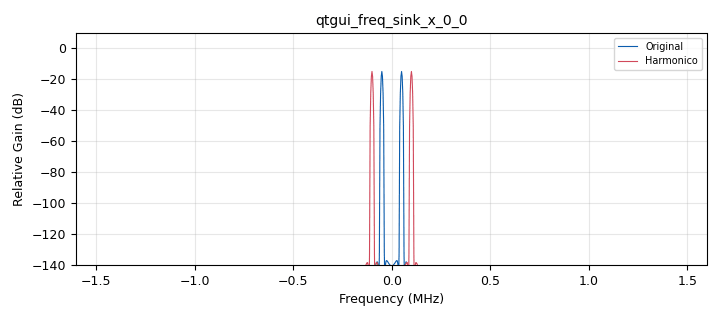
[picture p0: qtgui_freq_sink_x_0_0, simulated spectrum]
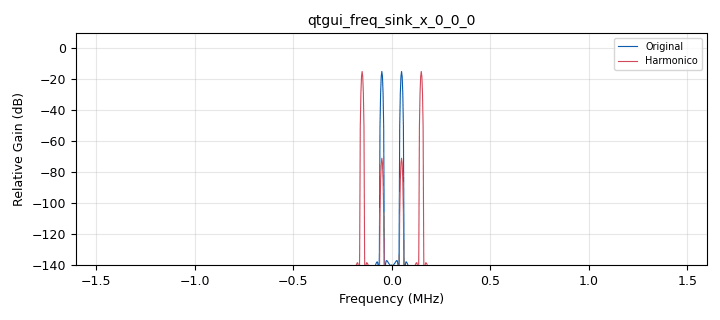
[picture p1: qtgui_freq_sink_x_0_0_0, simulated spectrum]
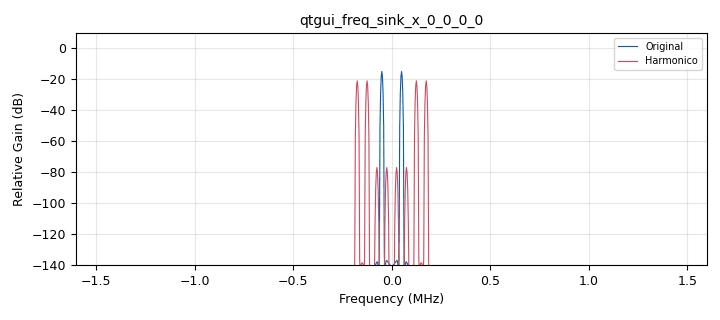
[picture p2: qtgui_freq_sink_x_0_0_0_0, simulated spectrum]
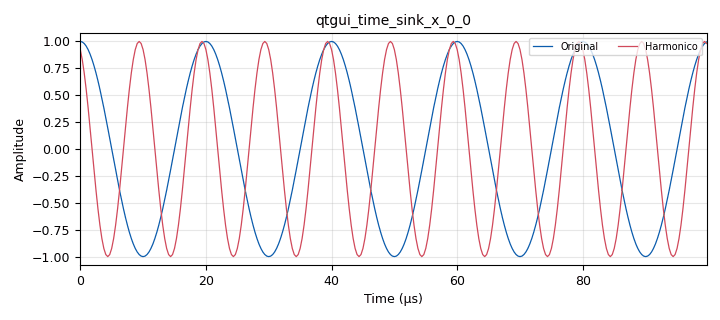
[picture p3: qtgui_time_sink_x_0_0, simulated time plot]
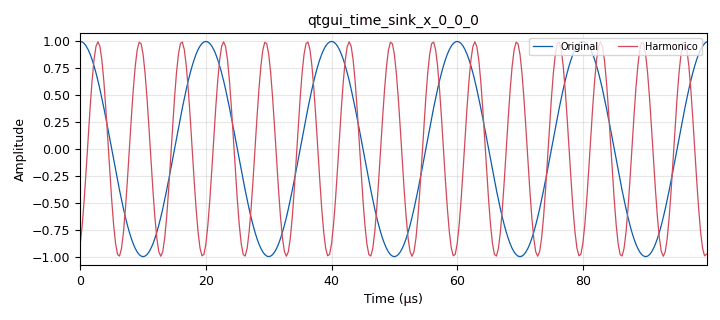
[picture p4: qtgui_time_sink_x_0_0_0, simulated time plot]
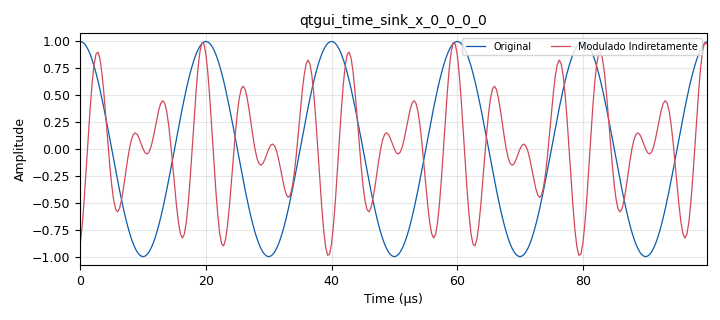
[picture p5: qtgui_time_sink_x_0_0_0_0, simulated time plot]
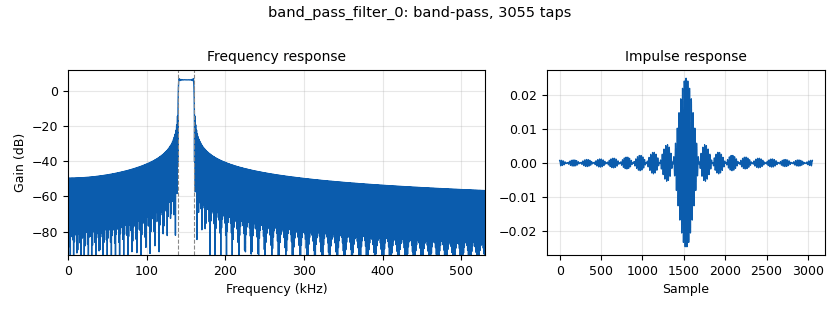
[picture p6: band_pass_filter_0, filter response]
options:
  parameters:
    generate_options: qt_gui
    id: Armstrong
    output_language: python
    title: Not titled yet
  states: {}

blocks:
- name: amp
  id: variable_qtgui_range
  parameters:
    gui_hint: 0,0
    label: Amplitude
    min_len: '20'
    start: '0'
    step: '.1'
    stop: '1'
    value: '0'
  states: {}
- name: df
  id: variable_qtgui_range
  parameters:
    label: Frequency Deviation
    start: '0'
    step: '1'
    stop: '10000'
    value: freq
    widget: eng
  states: {}
- name: f_c
  id: variable
  parameters:
    value: '50000'
  states: {}
- name: f_lo
  id: variable_qtgui_entry
  parameters:
    label: Frequency Local Oscillator
    type: int
    value: '25000'
  states: {}
- name: freq
  id: variable_qtgui_range
  parameters:
    gui_hint: 0,1
    label: Frequency
    min_len: '20'
    start: '1000'
    step: '1000'
    stop: '10000'
    value: '10000'
  states: {}
- name: samp_rate
  id: variable
  parameters:
    value: '3200000'
  states: {}
- name: analog_sig_source_x_0
  id: analog_sig_source_x
  parameters:
    amp: '1'
    freq: f_c
    offset: '0'
    phase: '0'
    samp_rate: samp_rate
    type: float
    waveform: analog.GR_SIN_WAVE
  states: {}
- name: analog_sig_source_x_0_0
  id: analog_sig_source_x
  parameters:
    amp: '1'
    freq: f_c
    offset: '0'
    phase: '0'
    samp_rate: samp_rate
    type: float
    waveform: analog.GR_COS_WAVE
  states: {}
- name: analog_sig_source_x_0_1
  id: analog_sig_source_x
  parameters:
    amp: amp
    comment: FM Signal
    freq: freq
    offset: '0'
    phase: '0'
    samp_rate: samp_rate
    type: float
    waveform: analog.GR_COS_WAVE
  states: {}
- name: analog_sig_source_x_1
  id: analog_sig_source_x
  parameters:
    amp: '1'
    freq: f_lo
    offset: '0'
    phase: '0'
    samp_rate: samp_rate
    type: float
    waveform: analog.GR_COS_WAVE
  states: {}
- name: band_pass_filter_0
  id: band_pass_filter
  parameters:
    decim: '1'
    gain: '2'
    high_cutoff_freq: 3*f_c+df
    low_cutoff_freq: 3*f_c-df
    samp_rate: samp_rate
    type: fir_filter_fff
    width: df/10
    win: window.WIN_RECTANGULAR
  states: {}
- name: band_pass_filter_0_0
  id: band_pass_filter
  parameters:
    decim: '1'
    gain: '2'
    high_cutoff_freq: 2*f_c + 2*df
    low_cutoff_freq: 2*(f_c) - 2*df
    samp_rate: samp_rate
    type: fir_filter_fff
    width: '1'
    win: window.WIN_HAMMING
  states: {state: disabled}
- name: blocks_head_0
  id: blocks_head
  parameters:
    num_items: round(samp_rate/freq)*1000
    type: float
  states: {state: disabled}
- name: blocks_multiply_const_vxx_0
  id: blocks_multiply_const_vxx
  parameters:
    const: '2'
    type: float
  states: {}
- name: blocks_multiply_xx_0
  id: blocks_multiply_xx
  parameters:
    type: float
  states: {}
- name: blocks_multiply_xx_0_0
  id: blocks_multiply_xx
  parameters:
    type: float
  states: {}
- name: blocks_multiply_xx_0_0_0
  id: blocks_multiply_xx
  parameters:
    type: float
  states: {}
- name: blocks_multiply_xx_1
  id: blocks_multiply_xx
  parameters:
    type: float
  states: {}
- name: blocks_sub_xx_0
  id: blocks_sub_xx
  parameters:
    type: float
  states: {}
- name: blocks_throttle2_0
  id: blocks_throttle2
  parameters:
    samples_per_second: samp_rate
    type: float
  states: {}
- name: blocks_throttle2_0_0
  id: blocks_throttle2
  parameters:
    samples_per_second: samp_rate
    type: float
  states: {}
- name: dc_blocker_xx_0
  id: dc_blocker_xx
  parameters:
    length: '32'
    long_form: 'True'
    type: ff
  states: {}
- name: dc_blocker_xx_0_0
  id: dc_blocker_xx
  parameters:
    length: '32'
    long_form: 'True'
    type: ff
  states: {}
- name: qtgui_freq_sink_x_0
  id: qtgui_freq_sink_x
  parameters:
    bw: samp_rate
    ctrlpanel: 'True'
    fc: '0'
    fftsize: '1024'
    gui_hint: tab@0
    type: float
  states: {state: disabled}
- name: qtgui_freq_sink_x_0_0
  id: qtgui_freq_sink_x
  parameters:
    bw: samp_rate
    ctrlpanel: 'True'
    fc: '0'
    fftsize: '1024'
    gui_hint: tab@1
    label1: Original
    label2: Harmonico
    nconnections: '2'
    type: float
  states: {}
- name: qtgui_freq_sink_x_0_0_0
  id: qtgui_freq_sink_x
  parameters:
    bw: samp_rate
    ctrlpanel: 'True'
    fc: '0'
    fftsize: '1024'
    gui_hint: tab@2
    label1: Original
    label2: Harmonico
    nconnections: '2'
    type: float
  states: {}
- name: qtgui_freq_sink_x_0_0_0_0
  id: qtgui_freq_sink_x
  parameters:
    bw: samp_rate
    ctrlpanel: 'True'
    fc: '0'
    fftsize: '1024'
    gui_hint: tab@0
    label1: Original
    label2: Harmonico
    nconnections: '2'
    type: float
  states: {}
- name: qtgui_time_sink_x_0
  id: qtgui_time_sink_x
  parameters:
    ctrlpanel: 'True'
    gui_hint: tab@0
    size: round(samp_rate/freq)
    srate: samp_rate
    type: float
  states: {state: disabled}
- name: qtgui_time_sink_x_0_0
  id: qtgui_time_sink_x
  parameters:
    ctrlpanel: 'True'
    gui_hint: tab@1
    label1: Original
    label2: Harmonico
    nconnections: '2'
    size: round(samp_rate/freq)
    srate: samp_rate
    type: float
  states: {}
- name: qtgui_time_sink_x_0_0_0
  id: qtgui_time_sink_x
  parameters:
    ctrlpanel: 'True'
    gui_hint: tab@2
    label1: Original
    label2: Harmonico
    nconnections: '2'
    size: round(samp_rate/freq)
    srate: samp_rate
    type: float
  states: {}
- name: qtgui_time_sink_x_0_0_0_0
  id: qtgui_time_sink_x
  parameters:
    ctrlpanel: 'True'
    gui_hint: tab@0
    label1: Original
    label2: Modulado Indiretamente
    nconnections: '2'
    size: round(samp_rate/freq)
    srate: samp_rate
    type: float
  states: {}
- name: tab
  id: qtgui_tab_widget
  parameters:
    label0: Indirect Method
    label1: HARMONICO 2
    label2: HARMONICO 3
    num_tabs: '3'
  states: {}
- name: virtual_sink_0
  id: virtual_sink
  parameters:
    stream_id: NBFM
  states: {}
- name: virtual_sink_1_0
  id: virtual_sink
  parameters:
    stream_id: h2
  states: {}
- name: virtual_sink_1_0_0
  id: virtual_sink
  parameters:
    stream_id: h3
  states: {}
- name: virtual_source_0
  id: virtual_source
  parameters:
    stream_id: h2
  states: {}
- name: virtual_source_0_0_0_0_1_1_0
  id: virtual_source
  parameters:
    stream_id: NBFM
  states: {}
- name: virtual_source_0_0_0_0_1_1_0_0
  id: virtual_source
  parameters:
    stream_id: NBFM
  states: {}
- name: virtual_source_0_0_0_0_1_1_0_1
  id: virtual_source
  parameters:
    stream_id: NBFM
  states: {}
- name: virtual_source_0_0_0_0_1_1_0_1_0
  id: virtual_source
  parameters:
    stream_id: NBFM
  states: {}
- name: virtual_source_0_0_0_0_1_1_0_2
  id: virtual_source
  parameters:
    stream_id: NBFM
  states: {}
- name: virtual_source_0_0_0_0_1_1_0_2_0
  id: virtual_source
  parameters:
    stream_id: NBFM
  states: {}
- name: virtual_source_0_0_0_0_1_1_0_2_1
  id: virtual_source
  parameters:
    stream_id: NBFM
  states: {}
- name: virtual_source_0_0_0_0_1_1_0_3
  id: virtual_source
  parameters:
    stream_id: NBFM
  states: {}
- name: virtual_source_1
  id: virtual_source
  parameters:
    stream_id: h3
  states: {}

connections:
- [analog_sig_source_x_0, '0', blocks_multiply_xx_0, '1']
- [analog_sig_source_x_0_0, '0', blocks_sub_xx_0, '0']
- [analog_sig_source_x_0_1, '0', blocks_multiply_xx_0, '0']
- [analog_sig_source_x_1, '0', blocks_multiply_xx_1, '1']
- [band_pass_filter_0, '0', dc_blocker_xx_0_0, '0']
- [band_pass_filter_0_0, '0', qtgui_freq_sink_x_0_0, '1']
- [band_pass_filter_0_0, '0', qtgui_time_sink_x_0_0, '1']
- [band_pass_filter_0_0, '0', virtual_sink_1_0, '0']
- [blocks_head_0, '0', band_pass_filter_0_0, '0']
- [blocks_head_0, '0', qtgui_freq_sink_x_0_0, '1']
- [blocks_head_0, '0', qtgui_time_sink_x_0_0, '1']
- [blocks_head_0, '0', virtual_sink_1_0, '0']
- [blocks_multiply_const_vxx_0, '0', dc_blocker_xx_0, '0']
- [blocks_multiply_xx_0, '0', blocks_sub_xx_0, '1']
- [blocks_multiply_xx_0_0, '0', blocks_throttle2_0, '0']
- [blocks_multiply_xx_0_0_0, '0', blocks_throttle2_0_0, '0']
- [blocks_multiply_xx_1, '0', qtgui_freq_sink_x_0_0_0_0, '1']
- [blocks_multiply_xx_1, '0', qtgui_time_sink_x_0_0_0_0, '1']
- [blocks_sub_xx_0, '0', qtgui_freq_sink_x_0, '0']
- [blocks_sub_xx_0, '0', qtgui_time_sink_x_0, '0']
- [blocks_sub_xx_0, '0', virtual_sink_0, '0']
- [blocks_throttle2_0, '0', blocks_head_0, '0']
- [blocks_throttle2_0, '0', blocks_multiply_const_vxx_0, '0']
- [blocks_throttle2_0_0, '0', band_pass_filter_0, '0']
- [dc_blocker_xx_0, '0', qtgui_freq_sink_x_0_0, '1']
- [dc_blocker_xx_0, '0', qtgui_time_sink_x_0_0, '1']
- [dc_blocker_xx_0, '0', virtual_sink_1_0, '0']
- [dc_blocker_xx_0_0, '0', qtgui_freq_sink_x_0_0_0, '1']
- [dc_blocker_xx_0_0, '0', qtgui_time_sink_x_0_0_0, '1']
- [dc_blocker_xx_0_0, '0', virtual_sink_1_0_0, '0']
- [virtual_source_0, '0', blocks_multiply_xx_0_0_0, '1']
- [virtual_source_0_0_0_0_1_1_0, '0', qtgui_freq_sink_x_0_0, '0']
- [virtual_source_0_0_0_0_1_1_0_0, '0', qtgui_time_sink_x_0_0, '0']
- [virtual_source_0_0_0_0_1_1_0_1, '0', blocks_multiply_xx_0_0, '0']
- [virtual_source_0_0_0_0_1_1_0_1, '0', blocks_multiply_xx_0_0, '1']
- [virtual_source_0_0_0_0_1_1_0_1_0, '0', blocks_multiply_xx_0_0_0, '0']
- [virtual_source_0_0_0_0_1_1_0_2, '0', qtgui_freq_sink_x_0_0_0, '0']
- [virtual_source_0_0_0_0_1_1_0_2_0, '0', qtgui_time_sink_x_0_0_0_0, '0']
- [virtual_source_0_0_0_0_1_1_0_2_1, '0', qtgui_freq_sink_x_0_0_0_0, '0']
- [virtual_source_0_0_0_0_1_1_0_3, '0', qtgui_time_sink_x_0_0_0, '0']
- [virtual_source_1, '0', blocks_multiply_xx_1, '0']

metadata:
  file_format: 1
  grc_version: 3.10.10.0
